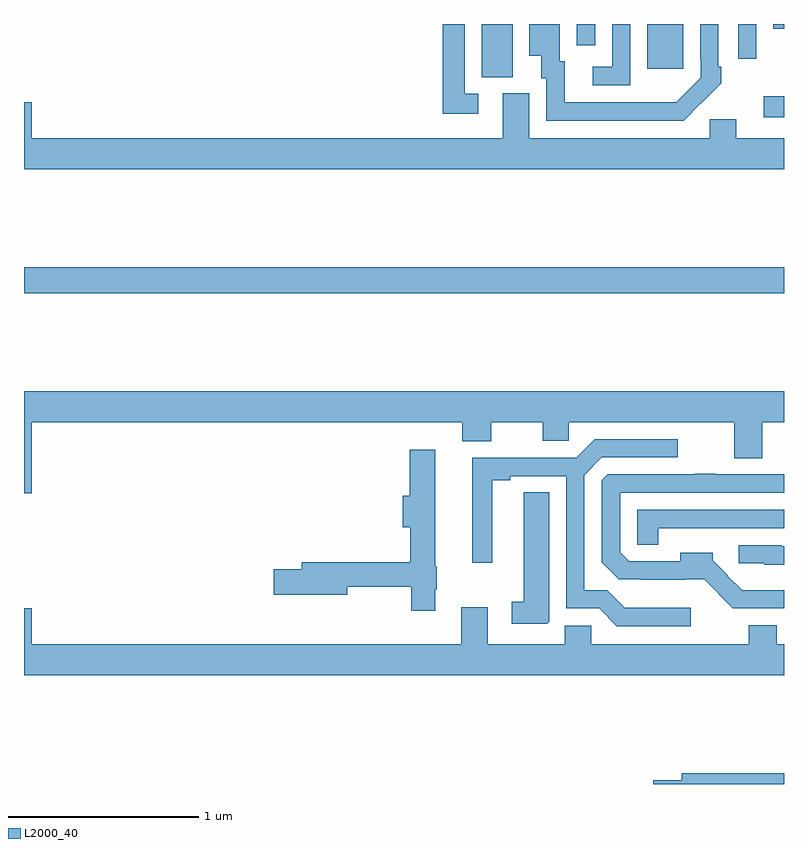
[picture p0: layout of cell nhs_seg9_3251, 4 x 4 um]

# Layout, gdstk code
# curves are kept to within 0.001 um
import gdstk
lib = gdstk.Library(unit=1e-6, precision=1e-09)
def R(c, l, rs):  # rectangles x0, y0, x1, y1
    for r in rs: c.add(gdstk.rectangle(r[:2], r[2:], *l))
def P(c, l, *ps):  # polygons
    for p in ps: c.add(gdstk.Polygon(p, *l))
L2000_40 = (2000, 40)

nhs_seg9_3251 = lib.new_cell('nhs_seg9_3251')
R(nhs_seg9_3251, L2000_40, [(297,1213.084,301,1213.22), (300.894,1214.01,301,1214.119), (299.408,1214.221,299.572,1214.5), (300.281,1214.265,300.469,1214.5), (300.759,1214.316,300.855,1214.5), (299.91,1214.388,300.006,1214.5), (300.944,1214.474,301,1214.5)])
P(nhs_seg9_3251, L2000_40, [(300.192,1214.5),(300.096,1214.5),(300.096,1214.274),(299.994,1214.274),(299.994,1214.178),(300.192,1214.178)],
  [(300.563,1214.083),(300.564,1214.082),(300.669,1214.187),(300.669,1214.275),(300.654,1214.275),(300.654,1214.5),(300.558,1214.5),(300.558,1214.317),(300.561,1214.317),(300.561,1214.217),(300.433,1214.089),(300.329,1214.088),(299.845,1214.088),(299.845,1214.304),(299.821,1214.304),(299.821,1214.5),(299.66,1214.5),(299.66,1214.333),(299.723,1214.333),(299.723,1214.214),(299.748,1214.214),(299.748,1213.992),(300.472,1213.992)],
  [(299.392,1214.133),(299.319,1214.133),(299.319,1214.5),(299.203,1214.5),(299.203,1214.028),(299.392,1214.028)],
  [(301,1213.9),(300.748,1213.9),(300.748,1213.998),(300.609,1213.998),(300.609,1213.9),(299.659,1213.9),(299.659,1214.136),(299.519,1214.136),(299.519,1213.9),(297.04,1213.9),(297.04,1214.089),(297,1214.089),(297,1213.736),(301,1213.736)],
  [(297.04,1212.404),(299.306,1212.404),(299.306,1212.305),(299.458,1212.305),(299.458,1212.404),(299.729,1212.404),(299.729,1212.306),(299.868,1212.306),(299.868,1212.404),(300.737,1212.404),(300.737,1212.214),(300.885,1212.214),(300.885,1212.404),(301,1212.404),(301,1212.568),(297,1212.568),(297,1212.03),(297.04,1212.03)],
  [(300.508,1211.428),(300.161,1211.428),(300.07,1211.519),(299.949,1211.519),(299.949,1212.126),(300.042,1212.219),(300.442,1212.219),(300.442,1212.315),(300.005,1212.315),(299.906,1212.216),(299.36,1212.216),(299.36,1211.664),(299.464,1211.664),(299.464,1212.1),(299.56,1212.1),(299.56,1212.12),(299.853,1212.12),(299.853,1211.424),(300.027,1211.424),(300.12,1211.331),(300.508,1211.331)],
  [(299.164,1211.524),(299.172,1211.524),(299.172,1211.643),(299.164,1211.643),(299.164,1212.259),(299.03,1212.259),(299.03,1212.018),(298.994,1212.018),(298.994,1211.852),(299.033,1211.852),(299.033,1211.666),(298.463,1211.666),(298.463,1211.63),(298.314,1211.63),(298.314,1211.495),(298.702,1211.495),(298.702,1211.538),(299.038,1211.538),(299.038,1211.412),(299.164,1211.412)],
  [(301,1211.521),(300.88,1211.521),(300.88,1211.519),(300.779,1211.519),(300.702,1211.595),(300.705,1211.598),(300.626,1211.677),(300.626,1211.716),(300.455,1211.716),(300.455,1211.673),(300.186,1211.673),(300.138,1211.721),(300.138,1212.033),(301,1212.033),(301,1212.129),(300.641,1212.129),(300.641,1212.134),(300.529,1212.134),(300.529,1212.129),(300.072,1212.129),(300.042,1212.099),(300.042,1211.667),(300.131,1211.578),(300.247,1211.578),(300.247,1211.576),(300.581,1211.577),(300.655,1211.503),(300.653,1211.501),(300.729,1211.424),(301,1211.424)],
  [(299.764,1211.353),(299.764,1212.035),(299.63,1212.035),(299.63,1211.459),(299.568,1211.459),(299.568,1211.343),(299.754,1211.343)],
  [(300.337,1211.846),(300.591,1211.846),(300.591,1211.847),(301,1211.847),(301,1211.943),(300.228,1211.943),(300.228,1211.758),(300.337,1211.758)],
  [(301,1211.751),(300.987,1211.751),(300.987,1211.757),(300.762,1211.757),(300.762,1211.661),(300.897,1211.661),(300.897,1211.654),(301,1211.654)],
  [(301,1211.236),(300.961,1211.236),(300.961,1211.335),(300.814,1211.335),(300.814,1211.236),(299.985,1211.236),(299.985,1211.334),(299.846,1211.334),(299.846,1211.236),(299.44,1211.236),(299.44,1211.431),(299.3,1211.431),(299.3,1211.236),(297.04,1211.236),(297.04,1211.425),(297,1211.425),(297,1211.072),(301,1211.072)],
  [(301,1210.556),(300.461,1210.556),(300.461,1210.52),(300.312,1210.52),(300.312,1210.5),(301,1210.5)])

lib.write_gds('nhs_seg9_3251.gds')
